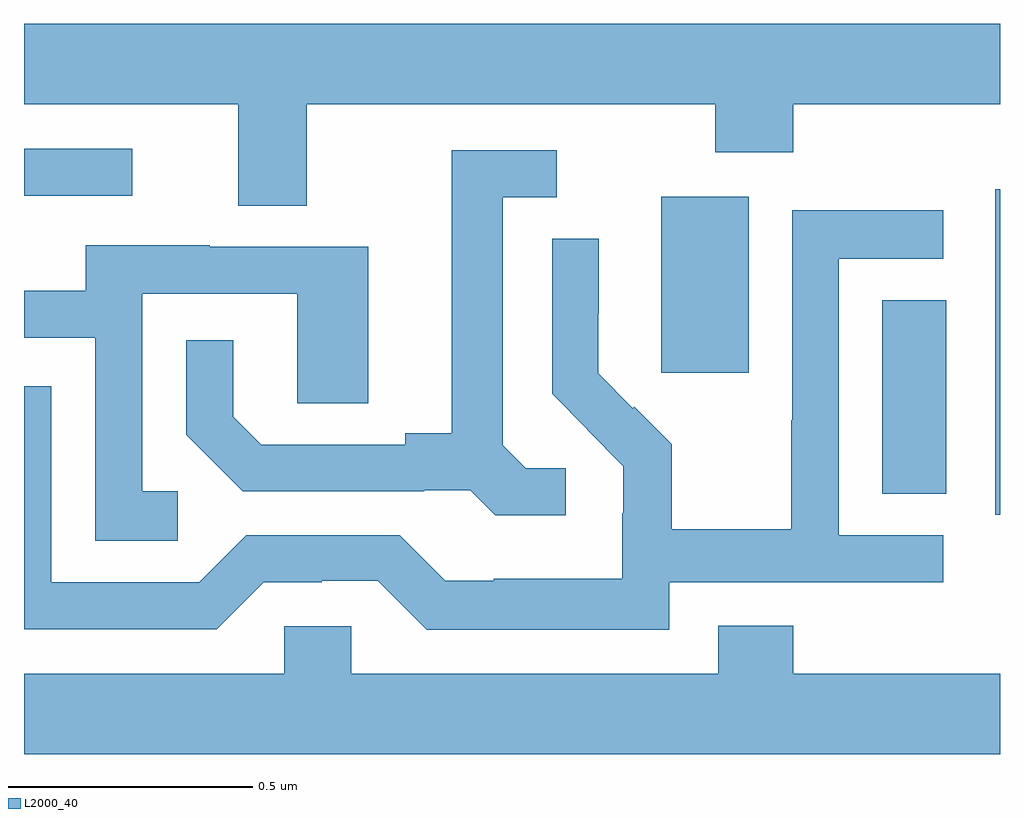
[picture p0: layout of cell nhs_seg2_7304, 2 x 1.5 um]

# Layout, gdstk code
import gdstk
lib = gdstk.Library(unit=1e-6, precision=1e-09)
def R(c, l, rs):  # rectangles x0, y0, x1, y1
    for r in rs: c.add(gdstk.rectangle(r[:2], r[2:], *l))
def P(c, l, *ps):  # polygons
    for p in ps: c.add(gdstk.Polygon(p, *l))
L2000_40 = (2000, 40)

nhs_seg2_7304 = lib.new_cell('nhs_seg2_7304')
R(nhs_seg2_7304, L2000_40, [(203.99,637.47,204,638.137), (203.759,637.513,203.89,637.91), (203.306,637.761,203.485,638.122), (202,638.124,202.222,638.22)])
P(nhs_seg2_7304, L2000_40, [(202.579,638.312),(203.416,638.312),(203.416,638.213),(203.576,638.213),(203.576,638.312),(204,638.312),(204,638.476),(202,638.476),(202,638.312),(202.439,638.312),(202.439,638.104),(202.579,638.104)],
  [(203.11,637.566),(203.028,637.566),(202.981,637.613),(202.981,638.121),(203.092,638.121),(203.092,638.217),(202.877,638.217),(202.877,637.637),(202.781,637.637),(202.781,637.614),(202.486,637.614),(202.429,637.671),(202.429,637.828),(202.332,637.828),(202.332,637.634),(202.448,637.518),(202.82,637.518),(202.82,637.521),(202.914,637.521),(202.966,637.469),(203.11,637.469)],
  [(203.322,637.332),(203.884,637.332),(203.884,637.428),(203.67,637.428),(203.67,637.995),(203.884,637.995),(203.884,638.094),(203.574,638.094),(203.574,637.664),(203.572,637.664),(203.572,637.441),(203.327,637.441),(203.327,637.615),(203.25,637.692),(203.247,637.689),(203.177,637.76),(203.177,637.882),(203.178,637.882),(203.178,638.036),(203.082,638.036),(203.082,637.718),(203.155,637.645),(203.154,637.644),(203.228,637.57),(203.228,637.473),(203.226,637.473),(203.226,637.339),(202.963,637.339),(202.963,637.335),(202.863,637.335),(202.77,637.428),(202.455,637.428),(202.359,637.332),(202.056,637.332),(202.056,637.734),(202,637.734),(202,637.236),(202.395,637.236),(202.491,637.332),(202.61,637.332),(202.61,637.335),(202.725,637.335),(202.825,637.235),(203.322,637.235)],
  [(202.315,637.518),(202.242,637.518),(202.242,637.923),(202.56,637.923),(202.56,637.699),(202.705,637.699),(202.705,638.019),(202.381,638.019),(202.381,638.023),(202.127,638.023),(202.127,637.929),(202,637.929),(202,637.833),(202.146,637.833),(202.146,637.417),(202.315,637.417)],
  [(204,637.144),(203.576,637.144),(203.576,637.243),(203.423,637.243),(203.423,637.144),(202.671,637.144),(202.671,637.242),(202.533,637.242),(202.533,637.144),(202,637.144),(202,636.98),(204,636.98)])

lib.write_gds('nhs_seg2_7304.gds')
